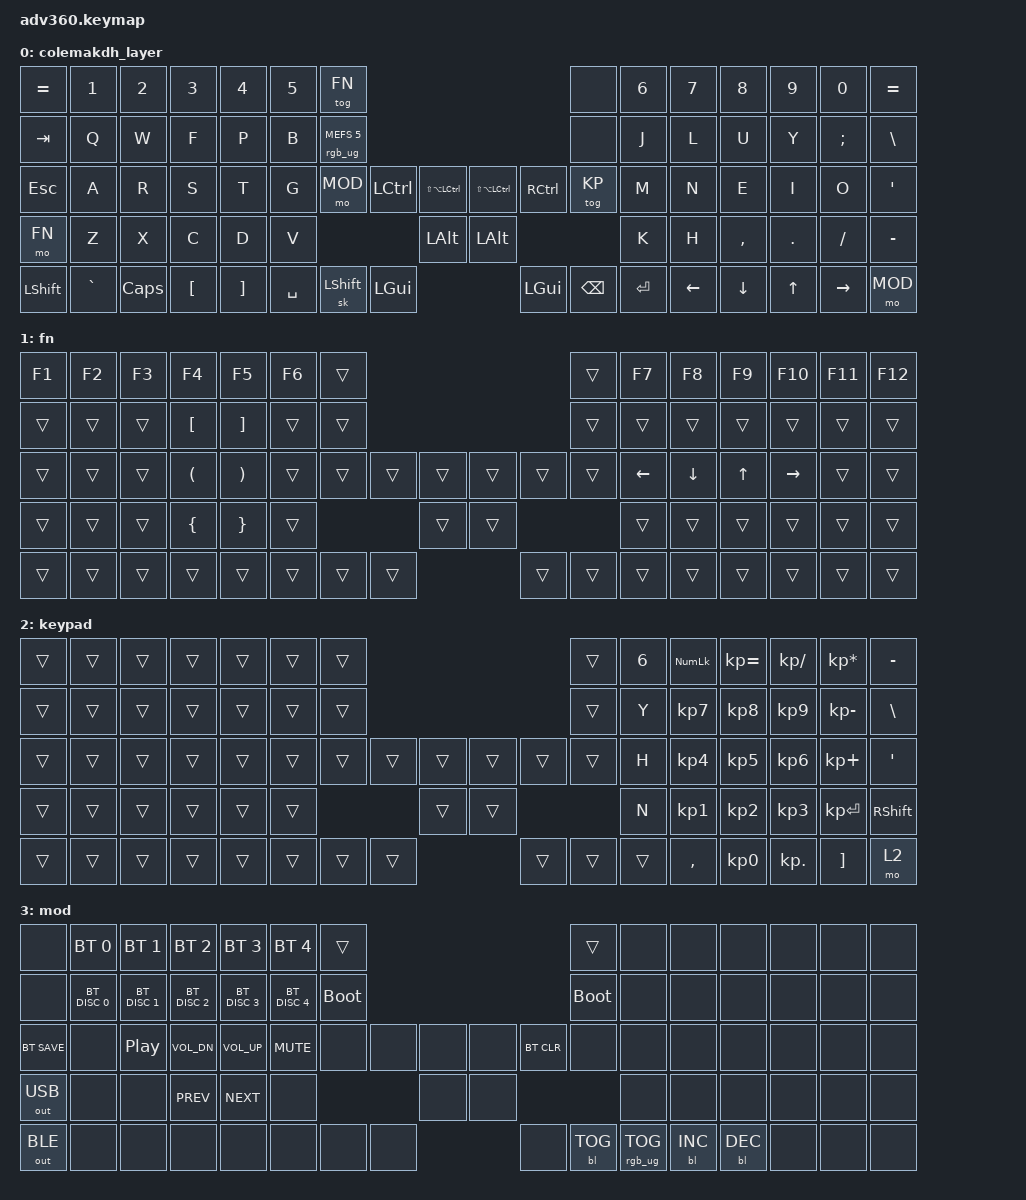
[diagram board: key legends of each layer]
#include <behaviors.dtsi>
#include <dt-bindings/zmk/keys.h>
#include <dt-bindings/zmk/bt.h>
#include <dt-bindings/zmk/rgb.h>
#include <dt-bindings/zmk/backlight.h>
#include <dt-bindings/zmk/outputs.h>

#define MEH LS(LA(LCTRL))
#define HYPER LS(LA(LC(LGUI)))

#define CM 0
#define FN 1
#define KP 2
#define MOD 3

/ {
  keymap {
    compatible = "zmk,keymap";

    colemakdh_layer {
      bindings = <
        &kp EQUAL &kp N1    &kp N2   &kp N3   &kp N4   &kp N5 &tog FN                                                         &none   &kp N6 &kp N7   &kp N8    &kp N9   &kp N0    &kp EQUAL
        &kp TAB   &kp Q     &kp W    &kp F    &kp P    &kp B  &rgb_ug RGB_MEFS_CMD 5                                          &none   &kp J  &kp L    &kp U     &kp Y    &kp SEMI  &kp BSLH
        &kp ESC   &kp A     &kp R    &kp S    &kp T    &kp G  &mo MOD        &kp LCTRL &kp MEH     &kp MEH   &kp RCTRL        &tog KP &kp M  &kp N    &kp E     &kp I    &kp O     &kp SQT
        &mo FN    &kp Z     &kp X    &kp C    &kp D    &kp V                           &kp LALT    &kp LALT                           &kp K  &kp H    &kp COMMA &kp DOT  &kp FSLH  &kp MINUS
        &kp LSHFT &kp GRAVE &kp CAPS &kp LBKT &kp RBKT             &kp SPACE &sk LSHFT &kp LGUI    &kp LGUI  &kp BSPC &kp ENTER              &kp LEFT &kp DOWN  &kp UP   &kp RIGHT &mo MOD
      >;
    };

    fn {
      bindings = <
        &kp F1 &kp F2 &kp F3 &kp F4   &kp F5   &kp F6 &trans                                            &trans &kp F7   &kp F8   &kp F9 &kp F10   &kp F11 &kp F12
        &trans &trans &trans &kp LBKT &kp RBKT &trans &trans                                            &trans &trans   &trans   &trans &trans    &trans  &trans
        &trans &trans &trans &kp LPAR &kp RPAR &trans &trans       &trans &trans   &trans &trans        &trans &kp LEFT &kp DOWN &kp UP &kp RIGHT &trans  &trans
        &trans &trans &trans &kp LBRC &kp RBRC &trans                     &trans   &trans                      &trans   &trans   &trans &trans    &trans  &trans
        &trans &trans &trans &trans   &trans                &trans &trans &trans   &trans &trans &trans                 &trans   &trans &trans    &trans  &trans
      >;
    };

    keypad {
      bindings = <
        &trans &trans &trans &trans &trans &trans  &trans                                                 &trans &kp N6 &kp KP_NUM &kp KP_EQUAL &kp KP_DIVIDE &kp KP_MULTIPLY &kp MINUS
        &trans &trans &trans &trans &trans &trans  &trans                                                 &trans &kp Y  &kp KP_N7  &kp KP_N8    &kp KP_N9     &kp KP_MINUS    &kp BSLH
        &trans &trans &trans &trans &trans &trans  &trans          &trans &trans   &trans &trans          &trans &kp H  &kp KP_N4  &kp KP_N5    &kp KP_N6     &kp KP_PLUS     &kp SQT
        &trans &trans &trans &trans &trans &trans                         &trans   &trans                        &kp N  &kp KP_N1  &kp KP_N2    &kp KP_N3     &kp KP_ENTER    &kp RSHFT
        &trans &trans &trans &trans &trans                  &trans &trans &trans   &trans &trans &trans                 &kp COMMA  &kp KP_N0    &kp KP_DOT    &kp RBKT        &mo 2
      >;
    };

    mod {
      bindings = <
        &none        &bt BT_SEL 0  &bt BT_SEL 1  &bt BT_SEL 2  &bt BT_SEL 3  &bt BT_SEL 4  &trans                                      &trans      &none &none      &none      &none &none &none
        &none        &bt BT_DISC 0 &bt BT_DISC 1 &bt BT_DISC 2 &bt BT_DISC 3 &bt BT_DISC 4 &bootloader                                 &bootloader &none &none      &none      &none &none &none
        &bt BT_SAVE  &none         &kp C_PP      &kp C_VOL_DN  &kp C_VOL_UP  &kp C_MUTE    &none       &none &none &none &bt BT_CLR    &none       &none &none      &none      &none &none &none
        &out OUT_USB &none         &none         &kp C_PREV    &kp C_NEXT    &none                          &none &none                           &none &none      &none      &none &none &none
        &out OUT_BLE &none         &none         &none         &none                           &none &none &none &none &bl BL_TOG &rgb_ug RGB_TOG      &bl BL_INC &bl BL_DEC &none &none &none
      >;
    };

  };
};
